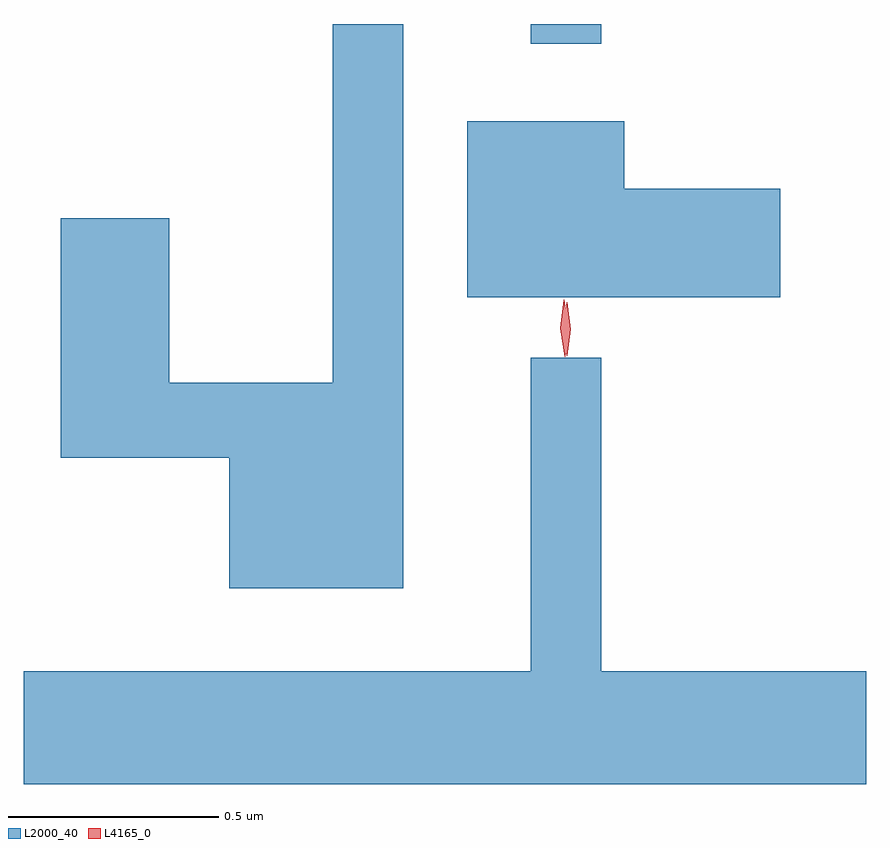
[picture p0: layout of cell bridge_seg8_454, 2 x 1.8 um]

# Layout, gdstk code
import gdstk
lib = gdstk.Library(unit=1e-6, precision=1e-09)
def R(c, l, rs):  # rectangles x0, y0, x1, y1
    for r in rs: c.add(gdstk.rectangle(r[:2], r[2:], *l))
def P(c, l, *ps):  # polygons
    for p in ps: c.add(gdstk.Polygon(p, *l))
L2000_40 = (2000, 40)
L4165_0 = (4165, 0)

bridge_seg8_454 = lib.new_cell('bridge_seg8_454')
R(bridge_seg8_454, L2000_40, [(984.871,1831.513,985.039,1831.56)])
P(bridge_seg8_454, L2000_40, [(984.569,1831.56),(984.401,1831.56),(984.401,1830.709),(984.014,1830.709),(984.014,1831.099),(983.756,1831.099),(983.756,1830.531),(984.156,1830.531),(984.156,1830.221),(984.569,1830.221)],
  [(985.464,1831.169),(985.094,1831.169),(985.094,1831.329),(984.721,1831.329),(984.721,1830.911),(985.464,1830.911)],
  [(985.668,1830.024),(985.039,1830.024),(985.039,1830.768),(984.871,1830.768),(984.871,1830.024),(983.668,1830.024),(983.668,1829.756),(985.668,1829.756)])
P(bridge_seg8_454, L4165_0, [(984.952,1830.77),(984.952,1830.77),(984.942,1830.838),(984.95,1830.905),(984.951,1830.906),(984.951,1830.905),(984.961,1830.838),(984.953,1830.77)],
  [(984.957,1830.773),(984.957,1830.773),(984.947,1830.836),(984.957,1830.899),(984.957,1830.9),(984.958,1830.899),(984.967,1830.836),(984.958,1830.773)])

lib.write_gds('bridge_seg8_454.gds')
